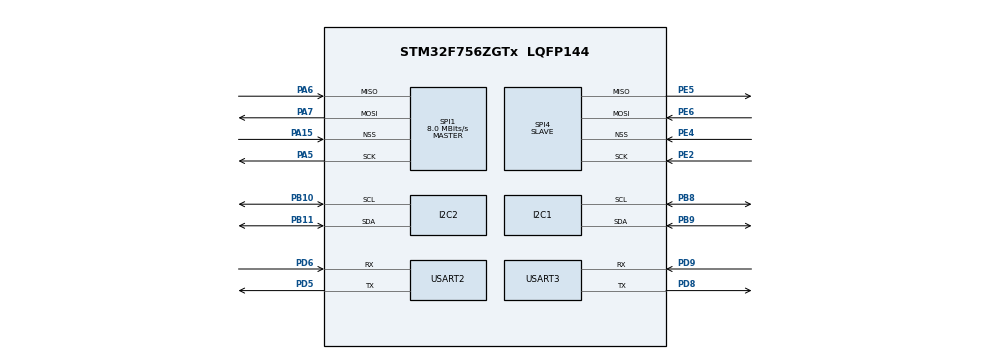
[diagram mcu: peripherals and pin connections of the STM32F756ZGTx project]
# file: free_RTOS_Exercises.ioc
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CORTEX_M7.default_mode_Activation=1
Dma.I2C1_TX.1.Direction=DMA_MEMORY_TO_PERIPH
Dma.I2C1_TX.1.FIFOMode=DMA_FIFOMODE_DISABLE
Dma.I2C1_TX.1.Instance=DMA1_Stream6
Dma.I2C1_TX.1.MemDataAlignment=DMA_MDATAALIGN_BYTE
Dma.I2C1_TX.1.MemInc=DMA_MINC_ENABLE
Dma.I2C1_TX.1.Mode=DMA_NORMAL
Dma.I2C1_TX.1.PeriphDataAlignment=DMA_PDATAALIGN_BYTE
Dma.I2C1_TX.1.PeriphInc=DMA_PINC_DISABLE
Dma.I2C1_TX.1.Priority=DMA_PRIORITY_LOW
Dma.I2C2_RX.0.Direction=DMA_PERIPH_TO_MEMORY
Dma.I2C2_RX.0.FIFOMode=DMA_FIFOMODE_DISABLE
Dma.I2C2_RX.0.Instance=DMA1_Stream2
Dma.I2C2_RX.0.MemDataAlignment=DMA_MDATAALIGN_BYTE
Dma.I2C2_RX.0.MemInc=DMA_MINC_ENABLE
Dma.I2C2_RX.0.Mode=DMA_NORMAL
Dma.I2C2_RX.0.PeriphDataAlignment=DMA_PDATAALIGN_BYTE
Dma.I2C2_RX.0.PeriphInc=DMA_PINC_DISABLE
Dma.I2C2_RX.0.Priority=DMA_PRIORITY_LOW
Dma.Request0=I2C2_RX
Dma.Request1=I2C1_TX
FREERTOS.Tasks01=defaultTask,0,256,StartDefaultTask,Default,NULL,Dynamic,NULL,NULL
I2C1.OwnAddress=10
I2C2.OwnAddress=33
Mcu.Family=STM32F7
Mcu.Name=STM32F756ZGTx
Mcu.Package=LQFP144
NVIC.DMA1_Stream2_IRQn=true\:5\:0\:false\:false\:true\:true\:false\:true\:true
NVIC.DMA1_Stream6_IRQn=true\:5\:0\:false\:false\:true\:true\:false\:true\:true
NVIC.I2C1_ER_IRQn=true\:5\:0\:false\:false\:true\:true\:true\:true\:true
NVIC.I2C1_EV_IRQn=true\:5\:0\:false\:false\:true\:true\:true\:true\:true
NVIC.I2C2_ER_IRQn=true\:5\:0\:false\:false\:true\:true\:true\:true\:true
NVIC.I2C2_EV_IRQn=true\:5\:0\:false\:false\:true\:true\:true\:true\:true
NVIC.PriorityGroup=NVIC_PRIORITYGROUP_4
NVIC.SPI1_IRQn=true\:5\:0\:false\:false\:true\:true\:true\:true\:true
NVIC.USART2_IRQn=true\:5\:0\:false\:false\:true\:true\:true\:true\:true
NVIC.USART3_IRQn=true\:5\:0\:false\:false\:true\:true\:true\:true\:true
PA15.Mode=NSS_Signal_Hard_Input
PA15.Signal=SPI1_NSS
PA5.Mode=Full_Duplex_Master
PA5.Signal=SPI1_SCK
PA6.Mode=Full_Duplex_Master
PA6.Signal=SPI1_MISO
PA7.Mode=Full_Duplex_Master
PA7.Signal=SPI1_MOSI
PB10.GPIO_Pu=GPIO_PULLUP
PB10.Mode=I2C
PB10.Signal=I2C2_SCL
PB11.GPIO_Pu=GPIO_PULLUP
PB11.Mode=I2C
PB11.Signal=I2C2_SDA
PB8.GPIO_Pu=GPIO_PULLUP
PB8.Mode=I2C
PB8.Signal=I2C1_SCL
PB9.GPIO_Pu=GPIO_PULLUP
PB9.Mode=I2C
PB9.Signal=I2C1_SDA
PC1.Signal=SPI2_MOSI
PC12.Signal=SPI3_MOSI
PD5.Mode=Asynchronous
PD5.Signal=USART2_TX
PD6.Mode=Asynchronous
PD6.Signal=USART2_RX
PD8.Mode=Asynchronous
PD8.Signal=USART3_TX
PD9.Mode=Asynchronous
PD9.Signal=USART3_RX
PE2.Mode=Full_Duplex_Slave
PE2.Signal=SPI4_SCK
PE4.Mode=NSS_Signal_Hard_Input
PE4.Signal=SPI4_NSS
PE5.Mode=Full_Duplex_Slave
PE5.Signal=SPI4_MISO
PE6.Mode=Full_Duplex_Slave
PE6.Signal=SPI4_MOSI
ProjectManager.HeapSize=0x200
ProjectManager.StackSize=0x400
ProjectManager.TargetToolchain=STM32CubeIDE
RCC.HSE_VALUE=25000000
RCC.HSI_VALUE=16000000
RCC.LSE_VALUE=32768
RCC.USBFreq_Value=96000000
RCC.VCOOutputFreq_Value=192000000
SPI1.CalculateBaudRate=8.0 MBits/s
SPI1.Direction=SPI_DIRECTION_2LINES
SPI1.Mode=SPI_MODE_MASTER
SPI1.VirtualNSS=VM_NSSHARD
SPI1.VirtualType=VM_MASTER
SPI4.Direction=SPI_DIRECTION_2LINES
SPI4.Mode=SPI_MODE_SLAVE
SPI4.VirtualNSS=VM_NSSHARD
SPI4.VirtualType=VM_SLAVE
USART2.VirtualMode-Asynchronous=VM_ASYNC
USART3.VirtualMode-Asynchronous=VM_ASYNC
VP_CRC_VS_CRC.Mode=CRC_Activate
VP_FREERTOS_VS_CMSIS_V1.Mode=CMSIS_V1
board=custom

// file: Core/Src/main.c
/* USER CODE BEGIN Header */
/**
  ******************************************************************************
  * @file           : main.c
  * @brief          : Main program body
  ******************************************************************************
  * @attention
  *
  * Copyright (c) 2026 STMicroelectronics.
  * All rights reserved.
  *
  * This software is licensed under terms that can be found in the LICENSE file
  * in the root directory of this software component.
  * If no LICENSE file comes with this software, it is provided AS-IS.
  *
  ******************************************************************************
  */
/* USER CODE END Header */
#include "main.h"
#include "cmsis_os.h"
#include "crc.h"
#include "dma.h"
#include "i2c.h"
#include "spi.h"
#include "usart.h"
#include "gpio.h"

/* USER CODE BEGIN Includes */
#include "FreeRTOS.h"
#include "task.h"
/* USER CODE END Includes */

void SystemClock_Config(void);
static void MPU_Config(void);
void MX_FREERTOS_Init(void);

int main(void)
{

  /* MPU Configuration--------------------------------------------------------*/
  MPU_Config();

  /* MCU Configuration--------------------------------------------------------*/

  /* Reset of all peripherals, Initializes the Flash interface and the Systick. */
  HAL_Init();

  /* Configure the system clock */
  SystemClock_Config();

  /* Initialize all configured peripherals */
  MX_GPIO_Init();
  MX_DMA_Init();
  MX_USART3_UART_Init();
  MX_CRC_Init();
  MX_I2C1_Init();
  MX_I2C2_Init();
  MX_SPI1_Init();
  MX_USART2_UART_Init();
  MX_SPI4_Init();

  /* Call init function for freertos objects (in cmsis_os2.c) */
  MX_FREERTOS_Init();

  /* Start scheduler */
  osKernelStart();

  /* We should never get here as control is now taken by the scheduler */

  /* Infinite loop */
  while (1)
  {

  }
}

void SystemClock_Config(void)
{
  RCC_OscInitTypeDef RCC_OscInitStruct = {0};
  RCC_ClkInitTypeDef RCC_ClkInitStruct = {0};

  /** Configure the main internal regulator output voltage
  */
  __HAL_RCC_PWR_CLK_ENABLE();
  __HAL_PWR_VOLTAGESCALING_CONFIG(PWR_REGULATOR_VOLTAGE_SCALE3);

  /** Initializes the RCC Oscillators according to the specified parameters
  * in the RCC_OscInitTypeDef structure.
  */
  RCC_OscInitStruct.OscillatorType = RCC_OSCILLATORTYPE_HSI;
  RCC_OscInitStruct.HSIState = RCC_HSI_ON;
  RCC_OscInitStruct.HSICalibrationValue = RCC_HSICALIBRATION_DEFAULT;
  RCC_OscInitStruct.PLL.PLLState = RCC_PLL_NONE;
  if (HAL_RCC_OscConfig(&RCC_OscInitStruct) != HAL_OK)
  {
    Error_Handler();
  }

  /** Initializes the CPU, AHB and APB buses clocks
  */
  RCC_ClkInitStruct.ClockType = RCC_CLOCKTYPE_HCLK|RCC_CLOCKTYPE_SYSCLK
                              |RCC_CLOCKTYPE_PCLK1|RCC_CLOCKTYPE_PCLK2;
  RCC_ClkInitStruct.SYSCLKSource = RCC_SYSCLKSOURCE_HSI;
  RCC_ClkInitStruct.AHBCLKDivider = RCC_SYSCLK_DIV1;
  RCC_ClkInitStruct.APB1CLKDivider = RCC_HCLK_DIV1;
  RCC_ClkInitStruct.APB2CLKDivider = RCC_HCLK_DIV1;

  if (HAL_RCC_ClockConfig(&RCC_ClkInitStruct, FLASH_LATENCY_0) != HAL_OK)
  {
    Error_Handler();
  }
}

 /* MPU Configuration */

void MPU_Config(void)
{
  MPU_Region_InitTypeDef MPU_InitStruct = {0};

  /* Disables the MPU */
  HAL_MPU_Disable();

  /** Initializes and configures the Region and the memory to be protected
  */
  MPU_InitStruct.Enable = MPU_REGION_ENABLE;
  MPU_InitStruct.Number = MPU_REGION_NUMBER0;
  MPU_InitStruct.BaseAddress = 0x0;
  MPU_InitStruct.Size = MPU_REGION_SIZE_4GB;
  MPU_InitStruct.SubRegionDisable = 0x87;
  MPU_InitStruct.TypeExtField = MPU_TEX_LEVEL0;
  MPU_InitStruct.AccessPermission = MPU_REGION_NO_ACCESS;
  MPU_InitStruct.DisableExec = MPU_INSTRUCTION_ACCESS_DISABLE;
  MPU_InitStruct.IsShareable = MPU_ACCESS_SHAREABLE;
  MPU_InitStruct.IsCacheable = MPU_ACCESS_NOT_CACHEABLE;
  MPU_InitStruct.IsBufferable = MPU_ACCESS_NOT_BUFFERABLE;

  HAL_MPU_ConfigRegion(&MPU_InitStruct);
  /* Enables the MPU */
  HAL_MPU_Enable(MPU_PRIVILEGED_DEFAULT);

}

void Error_Handler(void)
{
  __disable_irq();
  while (1)
  {
  }
}

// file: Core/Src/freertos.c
/* USER CODE BEGIN Header */
/**
  ******************************************************************************
  * File Name          : freertos.c
  * Description        : Code for freertos applications
  ******************************************************************************
  * @attention
  *
  * Copyright (c) 2026 STMicroelectronics.
  * All rights reserved.
  *
  * This software is licensed under terms that can be found in the LICENSE file
  * in the root directory of this software component.
  * If no LICENSE file comes with this software, it is provided AS-IS.
  *
  ******************************************************************************
  */
/* USER CODE END Header */

#include "FreeRTOS.h"
#include "task.h"
#include "main.h"
#include "cmsis_os.h"

/* USER CODE BEGIN Includes */
#include <string.h>
#include <stdlib.h>
#include <stdio.h>
#include "usart.h"
#include <unistd.h>
#include "crc.h"
#include <semphr.h>
#include "i2c.h"
#include "dma.h"
#include "spi.h"
/* USER CODE END Includes */

/* USER CODE BEGIN PTD */

int _write(int file, char *ptr, int len)
{
    HAL_UART_Transmit(&huart3, (uint8_t*)ptr, len, HAL_MAX_DELAY);
    return len;
}

/* USER CODE END PTD */

osThreadId defaultTaskHandle;

/* USER CODE BEGIN FunctionPrototypes */
#define MAX_PAYLOAD 255
#define NUM_OF_ITER 100

#define UART 0x0
#define I2C 0x1
#define SPI 0x2

const char* periphStr[]={"UART","I2C","SPI"};

#define SLAVE_ADDR 0x34<<1

typedef struct {
    uint8_t *rx;
    uint8_t *tx;
    uint8_t len;
    uint8_t numOfIter;
} i2c_rx_context_t;

uint8_t ch;
uint8_t rxBuff[MAX_PAYLOAD];

volatile uint8_t UARTrxDone;
volatile uint8_t I2CrxDone;
volatile uint8_t SPIrxDone;

typedef struct packet_t{
	uint32_t TEST_ID;
	uint8_t PERIPHERAL;
	uint8_t numOfIter;
	uint8_t payloadSize;
	uint8_t payLoad[MAX_PAYLOAD];
}packet_t;

typedef struct resProtocol{
    uint8_t peripheral;
	uint8_t status;
}resProtocol;

typedef enum {
    CRC_OK = 0,
    CRC_FAIL
} crc_status_t;

typedef uint8_t (*loopback_crc_t)(uint8_t *txbuff,uint8_t *rxbuff,uint8_t len,uint8_t numOfIter);

uint8_t uart_loopback_crc(uint8_t *tx, uint8_t *rx,
                             uint16_t len, uint8_t iters);

uint8_t i2c_loopback_crc(uint8_t *tx, uint8_t *rx,
                            uint16_t len, uint8_t iters);

uint8_t spi_loopback_crc(uint8_t *tx, uint8_t *rx,
                           uint16_t len, uint8_t iters);

typedef struct loopback_table_t{
    loopback_crc_t uart;
    loopback_crc_t spi;
    loopback_crc_t i2c;
} loopback_table_t;

static const loopback_table_t loopback = {
    .uart = uart_loopback_crc,
    .spi  = spi_loopback_crc,
    .i2c  = i2c_loopback_crc
};

crc_status_t crc_check(uint8_t *tx,uint8_t *rx,uint8_t len);

QueueHandle_t packetQueue;

QueueHandle_t UARTQueue;
QueueHandle_t I2CQueue;
QueueHandle_t SPIQueue;

QueueHandle_t resultQueue;

TaskHandle_t uartRxTask_Handle;
void uartRxTask(void *argument){
	static uint8_t isFirst=1;
    static uint8_t buff[MAX_PAYLOAD];
    static uint8_t idx;

    for(;;){
		ulTaskNotifyTake(pdTRUE, portMAX_DELAY);
		if(ch!='\r'&&ch!='\n'&&idx<MAX_PAYLOAD-1)
		{
			HAL_UART_Transmit_IT(&huart3, &ch, 1);
			if(isFirst)
			{
				idx=0;
				isFirst=0;
			}
			buff[idx++]=ch;
		}else
		{
		    packet_t rxPKT;
			rxPKT.TEST_ID=0;
			rxPKT.payloadSize=idx;
			strcpy(rxPKT.payLoad,buff);
			rxPKT.payLoad[rxPKT.payloadSize]='\0';
			isFirst=1;
			if (xQueueSend(packetQueue, &rxPKT, portMAX_DELAY) != pdTRUE){
			   printf("Send msg on QUEUE failed!\r\n");
			}
		}
		HAL_UART_Receive_IT(&huart3,&ch,1);
	}
}

TaskHandle_t dispatcherTask_Handle;
void dispatcherTask(void *arg){
	packet_t pktCHECK;
	static uint32_t g_testIdCounter;
	for(;;)
	{
		if(xQueueReceive(packetQueue, &pktCHECK, portMAX_DELAY)==pdTRUE){
			pktCHECK.TEST_ID=(++g_testIdCounter);
			pktCHECK.numOfIter=NUM_OF_ITER;
			pktCHECK.PERIPHERAL=SPI;
			switch (pktCHECK.PERIPHERAL)
			{
			case UART:
			    if (xQueueSend(UARTQueue, &pktCHECK, portMAX_DELAY) != pdTRUE)
			    {
			       printf("Send msg on UARTQUEUE failed!\r\n");
			    }
			    break;

			case I2C:
			    if (xQueueSend(I2CQueue, &pktCHECK, portMAX_DELAY) != pdTRUE)
			    {
			        printf("Send msg on I2CQUEUE failed!\r\n");
			    }
			    break;

			 case SPI:
			     if (xQueueSend(SPIQueue, &pktCHECK, portMAX_DELAY) != pdTRUE)
			     {
			         printf("Send msg on SPIQUEUE failed!\r\n");
			     }
			     break;

			default:
			    printf("Unknown PERIPHERAL = 0x%02X\r\n", pktCHECK.PERIPHERAL);
			    break;
			}
			}
		}
	}

TaskHandle_t UARTPeriphCheckTASK_Handle;
void UARTPeriphCheckTASK(void *arg){
	packet_t UART_PTR;
	resProtocol result;
	for(;;){
		if(xQueueReceive(UARTQueue, &UART_PTR, portMAX_DELAY)==pdTRUE){
			result.peripheral=UART_PTR.PERIPHERAL;
			result.status = loopback.uart(UART_PTR.payLoad,rxBuff,UART_PTR.payloadSize,UART_PTR.numOfIter);
			if(xQueueSend(resultQueue,&result,portMAX_DELAY)!=pdTRUE){
				printf("sending FAILED\n");
			}

		}
	}
}

TaskHandle_t I2CPeriphCheckTASK_Handle;
void I2CPeriphCheckTASK(void *arg){
	packet_t I2C_PTR;
	resProtocol result;
	for(;;){
		if(xQueueReceive(I2CQueue, &I2C_PTR, portMAX_DELAY)!=pdFALSE){
			result.peripheral=I2C_PTR.PERIPHERAL;
			result.status = loopback.i2c(I2C_PTR.payLoad,rxBuff,I2C_PTR.payloadSize,I2C_PTR.numOfIter);
			if(xQueueSend(resultQueue,&result,portMAX_DELAY)!=pdTRUE){
							printf("sending FAILED\n");
			}
		}
	}
}

TaskHandle_t SPIPeriphCheckTASK_Handle;
void SPIPeriphCheckTASK(void *arg){
	packet_t SPI_PTR;
	resProtocol result;
	for(;;){
		if(xQueueReceive(SPIQueue, &SPI_PTR, portMAX_DELAY)!=pdFALSE){
			result.peripheral=SPI_PTR.PERIPHERAL;
			result.status = loopback.spi(SPI_PTR.payLoad,rxBuff,SPI_PTR.payloadSize,SPI_PTR.numOfIter);
			if(xQueueSend(resultQueue,&result,portMAX_DELAY)!=pdTRUE){
							printf("sending FAILED\n");
			}
		}
	}
}

TaskHandle_t uartTx_Handle;
void transmitTask(void *arg){
    resProtocol resTX;
	for(;;){
		if(xQueueReceive(resultQueue, &resTX, portMAX_DELAY)==pdTRUE){
			printf("\r\n%s PASSED THE TEST %d TIMES OUT OF %d\r\n",periphStr[resTX.peripheral],resTX.status,NUM_OF_ITER);
		}
	}
}

/* USER CODE END FunctionPrototypes */

void StartDefaultTask(void const * argument);

void MX_FREERTOS_Init(void); /* (MISRA C 2004 rule 8.1) */

/* GetIdleTaskMemory prototype (linked to static allocation support) */
void vApplicationGetIdleTaskMemory( StaticTask_t **ppxIdleTaskTCBBuffer, StackType_t **ppxIdleTaskStackBuffer, uint32_t *pulIdleTaskStackSize );

/* USER CODE BEGIN GET_IDLE_TASK_MEMORY */
static StaticTask_t xIdleTaskTCBBuffer;
static StackType_t xIdleStack[configMINIMAL_STACK_SIZE];

void vApplicationGetIdleTaskMemory( StaticTask_t **ppxIdleTaskTCBBuffer, StackType_t **ppxIdleTaskStackBuffer, uint32_t *pulIdleTaskStackSize )
{
  *ppxIdleTaskTCBBuffer = &xIdleTaskTCBBuffer;
  *ppxIdleTaskStackBuffer = &xIdleStack[0];
  *pulIdleTaskStackSize = configMINIMAL_STACK_SIZE;
  /* place for user code */
}
/* USER CODE END GET_IDLE_TASK_MEMORY */

void MX_FREERTOS_Init(void) {
  /* USER CODE BEGIN Init */
HAL_UART_Receive_IT(&huart3, &ch, 1);
  /* USER CODE END Init */

  /* USER CODE BEGIN RTOS_SEMAPHORES */
	//doneRxSem = xSemaphoreCreateCounting(10, 0);
  /* USER CODE END RTOS_SEMAPHORES */

  /* USER CODE BEGIN RTOS_QUEUES */
	packetQueue= xQueueCreate(4,sizeof(packet_t));

	UARTQueue= xQueueCreate(4,sizeof(packet_t));
	I2CQueue= xQueueCreate(4,sizeof(packet_t));
	SPIQueue= xQueueCreate(4,sizeof(packet_t));

	resultQueue=xQueueCreate(4,sizeof(resProtocol));

  /* USER CODE END RTOS_QUEUES */

  /* Create the thread(s) */
  /* definition and creation of defaultTask */
  osThreadDef(defaultTask, StartDefaultTask, osPriorityNormal, 0, 256);
  defaultTaskHandle = osThreadCreate(osThread(defaultTask), NULL);

  /* USER CODE BEGIN RTOS_THREADS */
	xTaskCreate(transmitTask,"transmitTask", 256, NULL, 1, &uartTx_Handle);
	xTaskCreate(dispatcherTask, "dispatcherTask", 256, NULL, 1, &dispatcherTask_Handle);

	xTaskCreate(UARTPeriphCheckTASK, "UARTPeriphCheckTASK", 256, NULL, 1, &UARTPeriphCheckTASK_Handle);
	xTaskCreate(I2CPeriphCheckTASK, "I2CPeriphCheckTASK", 256, NULL, 1, &I2CPeriphCheckTASK_Handle);
	xTaskCreate(SPIPeriphCheckTASK, "SPIPeriphCheckTASK", 256, NULL, 1, &SPIPeriphCheckTASK_Handle);

	xTaskCreate(uartRxTask, "uartRxTask", 256, NULL, 1, &uartRxTask_Handle);
  /* USER CODE END RTOS_THREADS */

}

/* USER CODE BEGIN Header_StartDefaultTask */
/**
  * @brief  Function implementing the defaultTask thread.
  * @param  argument: Not used
  * @retval None
  */
/* USER CODE END Header_StartDef/* USER CODE BEGIN Header */
/**
  ******************************************************************************
  * File Name          : freertos.c
  * Description        : Code for freertos applications
  ******************************************************************************
  * @attention
  *
  * Copyright (c) 2026 STMicroelectronics.
  * All rights reserved.
  *
  * This software is licensed under terms that can be found in the LICENSE file
  * in the root directory of this software component.
  * If no LICENSE file comes with this software, it is provided AS-IS.
  *
  ******************************************************************************
  */
/* USER CODE END Header */

/* Private typedef -----------------------------------------------------------*/
/* USER CODE BEGIN PTD */
void HAL_UART_RxCpltCallback(UART_HandleTypeDef *huart)
{
    BaseType_t xHigherPriorityTaskWoken = pdFALSE;
    if (huart == &huart3)
    {
    	 xTaskNotifyFromISR(
    			 uartRxTask_Handle,
    	            0,
    	            eNoAction,
    	            &xHigherPriorityTaskWoken
    	        );
    }

    if(huart==&huart2){

    	 xTaskNotifyFromISR(
    			 	 	 	UARTPeriphCheckTASK_Handle,
    	    	            0,
    	    	            eNoAction,
    	    	            &xHigherPriorityTaskWoken
    	    	        );
    }

    portYIELD_FROM_ISR(xHigherPriorityTaskWoken);
}

uint8_t uart_loopback_crc(uint8_t *tx, uint8_t *rx,
                             uint16_t len, uint8_t iters)
{
	uint8_t UARTsuccessCnt=0;
	for(size_t i=0;i<iters;i++)
	{
		HAL_UART_Receive_IT(&huart2, rx, len);
		HAL_UART_Transmit_IT(&huart2, tx, len);

	    ulTaskNotifyTake(pdTRUE, portMAX_DELAY);

	    if(crc_check(tx,rx,len)==CRC_OK){
				++UARTsuccessCnt;
	}
}
	return UARTsuccessCnt;
}

void HAL_I2C_SlaveRxCpltCallback(I2C_HandleTypeDef *hi2c){
    BaseType_t xHigherPriorityTaskWoken = pdFALSE;

	if(hi2c==&hi2c2)
	{
		 xTaskNotifyFromISR(
				 	 	 	 I2CPeriphCheckTASK_Handle,
		    	    	            0,
		    	    	            eNoAction,
		    	    	            &xHigherPriorityTaskWoken
		    	    	        );
	}
    portYIELD_FROM_ISR(xHigherPriorityTaskWoken);

}

uint8_t i2c_loopback_crc(uint8_t *tx, uint8_t *rx,
                             uint16_t len, uint8_t iters)
{
	uint8_t I2CsuccessCnt=0;
	for(size_t i=0;i<iters;i++)
	{
		HAL_I2C_Slave_Receive_IT(&hi2c2, rx, len);
		HAL_I2C_Master_Transmit_IT(&hi2c1, SLAVE_ADDR, tx, len);

	    ulTaskNotifyTake(pdTRUE, portMAX_DELAY);

			if(crc_check(tx,rx,len)==CRC_OK){
				++I2CsuccessCnt;
	}
}
	return I2CsuccessCnt;
}

void print_hex(const char *label, uint8_t *buf, uint16_t len)
{
    printf("%s: ", label);
    for (uint16_t i = 0; i < len; i++) {
        printf("%02X ", buf[i]);
    }
    printf("\r\n");
}

void HAL_SPI_TxRxCpltCallback(SPI_HandleTypeDef *hspi){
	BaseType_t xHigherPriorityTaskWoken;
	if(hspi==&hspi1){
		 xTaskNotifyFromISR(
		    			 	 	 	SPIPeriphCheckTASK_Handle,
		    	    	            0,
		    	    	            eNoAction,
		    	    	            &xHigherPriorityTaskWoken
		    	    	        );
		    }

		    portYIELD_FROM_ISR(xHigherPriorityTaskWoken);
}

uint8_t spi_loopback_crc(uint8_t *tx, uint8_t *rx,
                             uint16_t len, uint8_t iters)
{

	uint8_t dummy_tx[len],dummy_rx[len];
	memset(dummy_tx, 0xEE, len);
	memset(dummy_rx, 0xFF, len);
	uint8_t SPIsuccessCnt=0;

//	print_hex("BEFORE rx", rx, len);
//			print_hex("BEFORE tx", tx, len);
//			print_hex("BEFORE dummy_rx", dummy_rx, len);
//			print_hex("BEFORE dummy_tx", dummy_tx, len);
	for(size_t i=0;i<iters;i++)
	{
		HAL_SPI_TransmitReceive_IT(&hspi4, dummy_tx,rx, len);
		HAL_SPI_TransmitReceive_IT(&hspi1, tx, dummy_rx,len);

	    ulTaskNotifyTake(pdTRUE, portMAX_DELAY);

			if(crc_check(tx,rx,len)==CRC_OK){
				++SPIsuccessCnt;
	}
}
//	print_hex("AFTER rx", rx, len);
//	print_hex("AFTER tx", tx, len);
//	print_hex("AFTER dummy_rx", dummy_rx, len);
//	print_hex("AFTER dummy_tx", dummy_tx, len);
	return SPIsuccessCnt;
}

crc_status_t crc_check(uint8_t *tx,uint8_t *rx,uint8_t len){

	uint32_t crc_tx;
	uint32_t crc_rx;

	crc_tx=HAL_CRC_Calculate(&hcrc, tx,len);
	crc_rx=HAL_CRC_Calculate(&hcrc, rx, len);
	if(crc_tx==crc_rx){
		return CRC_OK;
	}
	return CRC_FAIL;
}

/* USER CODE END PTD */

/* Private define ------------------------------------------------------------*/
/* USER CODE BEGIN PD */

/* USER CODE END PD */

/* Private macro -------------------------------------------------------------*/
/* USER CODE BEGIN PM */

/* USER CODE END PM */

/* Private variables ---------------------------------------------------------*/
/* USER CODE BEGIN Variables */
/* USER CODE END Variables */

/* USER CODE BEGIN Header_StartDefaultTask */
/**
  * @brief  Function implementing the defaultTask thread.
  * @param  argument: Not used
  * @retval None
  */
/* USER CODE END Header_StartDefaultTask */
void StartDefaultTask(void const * argument)
{
  for(;;)
  {
    osDelay(1);
  }
}
